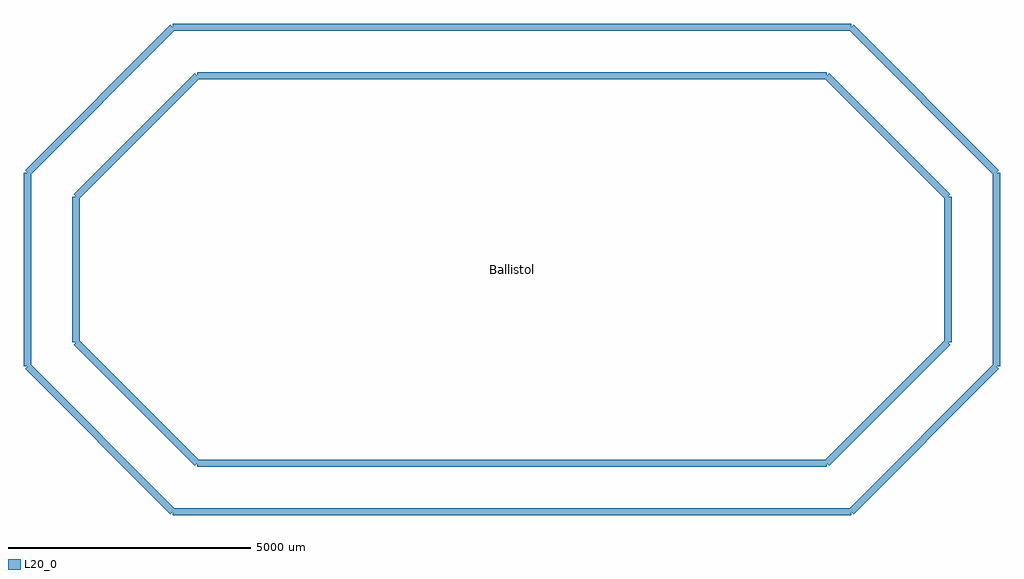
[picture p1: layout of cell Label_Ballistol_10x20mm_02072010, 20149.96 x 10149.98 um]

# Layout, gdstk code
import gdstk
lib = gdstk.Library(unit=1e-6, precision=1e-09)
L20_0 = (20, 0)

label_ballistol_10x20mm_ = lib.new_cell('Label_Ballistol_10x20mm_02072010')
label_ballistol_10x20mm_.add(gdstk.FlexPath([(-10414,-2080.26),(-7414.26,-5080)], 149.998, ends="flush", simple_path=True, layer=20, datatype=0))  # L20_0
label_ballistol_10x20mm_.add(gdstk.FlexPath([(6586.22,-5080),(9585.96,-2080.26)], 149.998, ends="flush", simple_path=True, layer=20, datatype=0))  # L20_0
label_ballistol_10x20mm_.add(gdstk.FlexPath([(9585.96,1920.24),(6586.22,4919.98)], 149.998, ends="flush", simple_path=True, layer=20, datatype=0))  # L20_0
label_ballistol_10x20mm_.add(gdstk.FlexPath([(-10414,1920.24),(-7414.26,4919.98)], 149.998, ends="flush", simple_path=True, layer=20, datatype=0))  # L20_0
label_ballistol_10x20mm_.add(gdstk.FlexPath([(-7414.26,4919.98),(6586.22,4919.98)], 149.998, ends="flush", simple_path=True, layer=20, datatype=0))  # L20_0
label_ballistol_10x20mm_.add(gdstk.FlexPath([(6586.22,-5080),(-7414.26,-5080)], 149.998, ends="flush", simple_path=True, layer=20, datatype=0))  # L20_0
label_ballistol_10x20mm_.add(gdstk.FlexPath([(9585.96,1920.24),(9585.96,-2080.26)], 149.998, ends="flush", simple_path=True, layer=20, datatype=0))  # L20_0
label_ballistol_10x20mm_.add(gdstk.FlexPath([(-10414,1920.24),(-10414,-2080.26)], 149.998, ends="flush", simple_path=True, layer=20, datatype=0))  # L20_0
label_ballistol_10x20mm_.add(gdstk.FlexPath([(-6413.5,-4079.24),(5585.46,-4079.24)], 149.998, ends="flush", simple_path=True, layer=20, datatype=0))  # L20_0
label_ballistol_10x20mm_.add(gdstk.FlexPath([(-9413.24,919.48),(-9413.24,-1079.5)], 149.998, ends="flush", simple_path=True, layer=20, datatype=0))  # L20_0
label_ballistol_10x20mm_.add(gdstk.FlexPath([(6085.84,-4079.24),(5585.46,-4079.24)], 149.998, ends="flush", simple_path=True, layer=20, datatype=0))  # L20_0
label_ballistol_10x20mm_.add(gdstk.FlexPath([(8585.2,-1579.88),(6085.84,-4079.24)], 149.998, ends="flush", simple_path=True, layer=20, datatype=0))  # L20_0
label_ballistol_10x20mm_.add(gdstk.FlexPath([(8585.2,1419.86),(8585.2,-1579.88)], 149.998, ends="flush", simple_path=True, layer=20, datatype=0))  # L20_0
label_ballistol_10x20mm_.add(gdstk.FlexPath([(-6913.88,3919.22),(-6413.5,3919.22)], 149.998, ends="flush", simple_path=True, layer=20, datatype=0))  # L20_0
label_ballistol_10x20mm_.add(gdstk.FlexPath([(-9413.24,1419.86),(-6913.88,3919.22)], 149.998, ends="flush", simple_path=True, layer=20, datatype=0))  # L20_0
label_ballistol_10x20mm_.add(gdstk.FlexPath([(-9413.24,919.48),(-9413.24,1419.86)], 149.998, ends="flush", simple_path=True, layer=20, datatype=0))  # L20_0
label_ballistol_10x20mm_.add(gdstk.FlexPath([(8585.2,1419.86),(6085.84,3919.22)], 149.998, ends="flush", simple_path=True, layer=20, datatype=0))  # L20_0
label_ballistol_10x20mm_.add(gdstk.FlexPath([(6085.84,3919.22),(-6413.5,3919.22)], 149.998, ends="flush", simple_path=True, layer=20, datatype=0))  # L20_0
label_ballistol_10x20mm_.add(gdstk.FlexPath([(-6913.88,-4079.24),(-6413.5,-4079.24)], 149.998, ends="flush", simple_path=True, layer=20, datatype=0))  # L20_0
label_ballistol_10x20mm_.add(gdstk.FlexPath([(-9413.24,-1579.88),(-6913.88,-4079.24)], 149.998, ends="flush", simple_path=True, layer=20, datatype=0))  # L20_0
label_ballistol_10x20mm_.add(gdstk.FlexPath([(-9413.24,-1079.5),(-9413.24,-1579.88)], 149.998, ends="flush", simple_path=True, layer=20, datatype=0))  # L20_0
label_ballistol_10x20mm_.add(gdstk.Label('Ballistol', (-414.02,-78.74), layer=9, texttype=0))
label_ballistol_10x20mm_.add(gdstk.Label('type', (0,-8128), layer=9, texttype=0))
label_ballistol_10x20mm_.add(gdstk.Label('devicename', (0,8128), layer=9, texttype=0))

lib.write_gds('Label_Ballistol_10x20mm_02072010.gds')
